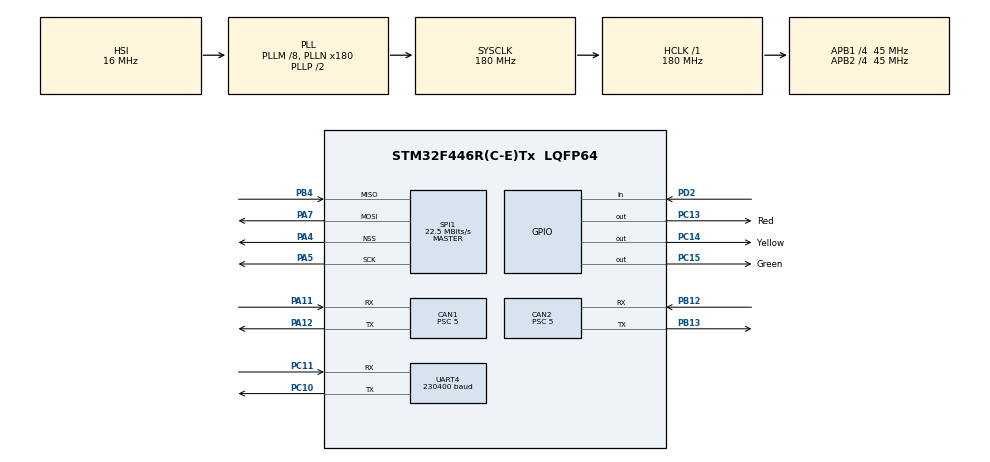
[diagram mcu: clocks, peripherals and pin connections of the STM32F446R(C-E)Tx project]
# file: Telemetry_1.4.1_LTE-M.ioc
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CAN1.BS1=CAN_BS1_7TQ
CAN1.BS2=CAN_BS2_1TQ
CAN1.CalculateBaudRate=1000000
CAN1.CalculateTimeBit=1000
CAN1.CalculateTimeQuantum=111.11111111111111
CAN1.Prescaler=5
CAN1.SJW=CAN_SJW_1TQ
CAN2.BS1=CAN_BS1_7TQ
CAN2.BS2=CAN_BS2_1TQ
CAN2.CalculateBaudRate=1000000
CAN2.CalculateTimeBit=1000
CAN2.CalculateTimeQuantum=111.11111111111111
CAN2.Prescaler=5
Mcu.Family=STM32F4
Mcu.Name=STM32F446R(C-E)Tx
Mcu.Package=LQFP64
NVIC.CAN1_RX0_IRQn=true\:0\:0\:false\:false\:true\:true\:true\:true
NVIC.CAN2_RX1_IRQn=true\:0\:0\:false\:false\:true\:true\:true\:true
NVIC.PriorityGroup=NVIC_PRIORITYGROUP_4
NVIC.TIM2_IRQn=true\:0\:0\:false\:false\:true\:true\:true\:true
NVIC.UART4_IRQn=true\:0\:0\:false\:false\:true\:true\:true\:true
PA11.Mode=CAN_Activate
PA11.Signal=CAN1_RX
PA12.Mode=CAN_Activate
PA12.Signal=CAN1_TX
PA13.Mode=Serial_Wire
PA13.Signal=SYS_JTMS-SWDIO
PA14.Mode=Serial_Wire
PA14.Signal=SYS_JTCK-SWCLK
PA4.Mode=NSS_Signal_Hard_Output
PA4.Signal=SPI1_NSS
PA5.Mode=Full_Duplex_Master
PA5.Signal=SPI1_SCK
PA7.Mode=Full_Duplex_Master
PA7.Signal=SPI1_MOSI
PB12.Mode=CAN_Activate
PB12.Signal=CAN2_RX
PB13.Mode=CAN_Activate
PB13.Signal=CAN2_TX
PB4.Mode=Full_Duplex_Master
PB4.Signal=SPI1_MISO
PC10.Mode=Asynchronous
PC10.Signal=UART4_TX
PC11.Mode=Asynchronous
PC11.Signal=UART4_RX
PC13.GPIO_Label=Red
PC13.Signal=GPIO_Output
PC14-OSC32_IN.GPIO_Label=Yellow
PC14-OSC32_IN.Signal=GPIO_Output
PC15-OSC32_OUT.GPIO_Label=Green
PC15-OSC32_OUT.Signal=GPIO_Output
PD2.GPIO_PuPd=GPIO_PULLDOWN
PD2.Signal=GPIO_Input
ProjectManager.HeapSize=0x200
ProjectManager.StackSize=0x400
ProjectManager.TargetToolchain=STM32CubeIDE
RCC.AHBFreq_Value=180000000
RCC.APB1CLKDivider=RCC_HCLK_DIV4
RCC.APB1Freq_Value=45000000
RCC.APB1TimFreq_Value=90000000
RCC.APB2CLKDivider=RCC_HCLK_DIV4
RCC.APB2Freq_Value=45000000
RCC.APB2TimFreq_Value=90000000
RCC.CortexFreq_Value=180000000
RCC.HCLKFreq_Value=180000000
RCC.HSE_VALUE=25000000
RCC.PLLM=8
RCC.PLLN=180
RCC.SYSCLKFreq_VALUE=180000000
RCC.SYSCLKSource=RCC_SYSCLKSOURCE_PLLCLK
RCC.USBFreq_Value=180000000
RCC.VCOOutputFreq_Value=360000000
SPI1.CalculateBaudRate=22.5 MBits/s
SPI1.Direction=SPI_DIRECTION_2LINES
SPI1.Mode=SPI_MODE_MASTER
SPI1.VirtualNSS=VM_NSSHARD
SPI1.VirtualType=VM_MASTER
TIM2.Period=20000
TIM2.Prescaler=45000
UART4.BaudRate=230400
UART4.VirtualMode=Asynchronous
VP_TIM2_VS_ClockSourceINT.Mode=Internal
board=custom

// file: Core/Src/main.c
/* USER CODE BEGIN Header */
/**
  ******************************************************************************
  * @file           : main.c
  * @brief          : Main program body
  ******************************************************************************
  * @attention
  *
  * <h2><center>&copy; Copyright (c) 2022 STMicroelectronics.
  * All rights reserved.</center></h2>
  *
  * This software component is licensed by ST under BSD 3-Clause license,
  * the "License"; You may not use this file except in compliance with the
  * License. You may obtain a copy of the License at:
  *                        opensource.org/licenses/BSD-3-Clause
  *
  ******************************************************************************
  */
/* USER CODE END Header */
#include "main.h"

/* USER CODE BEGIN Includes */
#include "stdio.h"
#include "string.h"
#include "stdbool.h"
/* USER CODE END Includes */

 CAN_HandleTypeDef hcan1;
CAN_HandleTypeDef hcan2;

SPI_HandleTypeDef hspi1;

TIM_HandleTypeDef htim2;

UART_HandleTypeDef huart4;

/* USER CODE BEGIN PV */
//AT commands to send to the Xbee Module
uint8_t AT_ENTER[] = {'+','+','+'}; //Command to enter AT mode
uint8_t AT_OK[] = {'O', 'K', 0x0D}; //AT OK response
uint8_t ATSD_R[] = {'A', 'T', 'S', 'D','1', 0x0D}; //AT soft reset command
uint8_t ATSD_S[] = {'A', 'T', 'S', 'D','0', 0x0D}; //AT shutdown command
uint8_t ATFR[] = {'A', 'T', 'F', 'R', 0x0D}; //Force reset command
uint8_t ATAI[] = {'A', 'T', 'A', 'I', 0x0D}; //Association indication command, tells state of connection
//ATAI command responses
uint8_t AT_CONNECTED[] = {'0', 0x0D}; //Connected to internet
uint8_t AT_REG[] = {'2', '2', 0x0D}; //Registerring to cellular network
uint8_t AT_CON[] = {'2', '3', 0x0D}; //Connecting to internet
uint8_t AT_COR[] = {'2', '4', 0x0D}; //Firmware corrupt or missing
uint8_t AT_DEN[] = {'2', '5', 0x0D}; //Connection denied; may be power consumption related
uint8_t AT_AIR[] = {'2', 'A', 0x0D}; //In airplane mode
uint8_t AT_USB[] = {'2', 'B', 0x0D}; //USB Direct Active
uint8_t AT_PSM[] = {'2', 'C', 0x0D}; //Cellular component in PSM
uint8_t AT_SD[] = {'2', 'D', 0x0D}; //Modem shut down
uint8_t AT_VOL[] = {'2', 'E', 0x0D}; // Low voltage shut down
uint8_t AT_BYP[] = {'2', 'F', 0x0D}; //Bypass mode active
uint8_t AT_UPD[] = {'3', '0', 0x0D}; //Update in progress
uint8_t AT_TST[] = {'3', '1', 0x0D}; //Regulatory testing enabled
uint8_t AT_INI[] = {'F', 'F', 0x0D}; //Initializing
//MQTT Messages
uint8_t mqtt_connect[] = {0x10, 0x10, 0x00, 0x04, 0x4D, 0x51, 0x54, 0x54, 0x04, 0x02, 0x00, 0x3C, 0x00, 0x04, 0x44, 0x49, 0x47, 0x49}; //MQTT connect message
uint8_t rx_transmit[2048] = {0x32, 0x8C, 0x00, 0x00, 0x08, 0x6D, 0x65, 0x73, 0x73, 0x61, 0x67, 0x65, 0x73, 0x00, 0x2A}; //MQTT data transmission message
//MQTT Responses
uint8_t MQTT_CONACK[] = {0x20,0x02,0x00,0x00}; //Connection acknowlegement response
uint8_t MQTT_PUBACK[] = {0x40,0x02,0x00,0x2A}; //Message published acknowlegement response

CAN_TxHeaderTypeDef TxHeader;
CAN_RxHeaderTypeDef RxHeader;

uint8_t uart_rx[4]; //UART receive Buffer
uint16_t last_element = 14;	 //Last array element location of rx_transmit
uint8_t *id_array[128];  // Array of pointers indicating location of any given ID in rx_transmit
uint8_t timeout_count = 0; //Timeout counter

//State flags
struct sFlags
{
	bool connected_net;
	bool connected_mqtt;
	bool transmit_ready;
	bool at_enabled;
	bool xbee_fr;
	bool at_ok;
};
struct sFlags FLAG;

/* USER CODE END PV */

void SystemClock_Config(void);
static void MX_GPIO_Init(void);
static void MX_CAN1_Init(void);
static void MX_CAN2_Init(void);
static void MX_SPI1_Init(void);
static void MX_UART4_Init(void);
static void MX_TIM2_Init(void);
/* USER CODE BEGIN PFP */
void HAL_CAN_RxFifo0MsgPendingCallback(CAN_HandleTypeDef *hcan);
void HAL_CAN_RxFifo1MsgPendingCallback(CAN_HandleTypeDef *hcan);
//void HAL_UART_RxCpltCallback(UART_HandleTypeDef *huart);
void CAN_SortAndHandle(CAN_HandleTypeDef *hcan, uint8_t FIFO);
void TransmitPacket();
void PacketLengthFormatter();
void ConnectingInternet();
void ConnectingMQTT();
void ResetXbee_Soft();
void ResetXbee_Hard();

/* USER CODE END PFP */

int main(void)
{
  /* USER CODE BEGIN 1 */
  //Default flag states during startup
  FLAG.connected_net = false;
  FLAG.connected_mqtt = false;
  FLAG.transmit_ready = false;
  FLAG.xbee_fr = false;
  FLAG.at_ok = false;

  /* USER CODE END 1 */

  /* MCU Configuration--------------------------------------------------------*/

  /* Reset of all peripherals, Initializes the Flash interface and the Systick. */
  HAL_Init();

  /* USER CODE BEGIN Init */
  int a = 0; //Used to make debug mode work

  /* USER CODE END Init */

  /* Configure the system clock */
  SystemClock_Config();

  /* Initialize all configured peripherals */
  MX_GPIO_Init();
  MX_CAN1_Init();
  MX_CAN2_Init();
  MX_SPI1_Init();
  MX_UART4_Init();
  MX_TIM2_Init();
  /* USER CODE BEGIN 2 */
  //Initial pointer to first End Of Array
  id_array[0] = &rx_transmit[last_element+1];
  HAL_Delay(30000);//Delay to wait for the xbee module to boot up and connect to network
  HAL_UARTEx_ReceiveToIdle_IT(&huart4, uart_rx, sizeof(uart_rx));
  //Starting CAN1 and CAN2 interrupts
  if (HAL_CAN_ActivateNotification(&hcan1, CAN_IT_RX_FIFO0_MSG_PENDING | CAN_IT_TX_MAILBOX_EMPTY) != HAL_OK)
  {
    Error_Handler();
  }
  if (HAL_CAN_ActivateNotification(&hcan2, CAN_IT_RX_FIFO1_MSG_PENDING | CAN_IT_TX_MAILBOX_EMPTY) != HAL_OK)
  {
    Error_Handler();
  }

  /* USER CODE END 2 */

  /* Infinite loop */
  /* USER CODE BEGIN WHILE */
  while (1)
  {
	  if(!FLAG.connected_net)
		  ConnectingInternet();
	  if(!FLAG.connected_mqtt)
		  ConnectingMQTT();
	  if(FLAG.transmit_ready)
		  TransmitPacket();
	  if(FLAG.xbee_fr)
		  ResetXbee_Hard();
	  __WFI();
    /* USER CODE END WHILE */

  }
}

void SystemClock_Config(void)
{
  RCC_OscInitTypeDef RCC_OscInitStruct = {0};
  RCC_ClkInitTypeDef RCC_ClkInitStruct = {0};

  /** Configure the main internal regulator output voltage
  */
  __HAL_RCC_PWR_CLK_ENABLE();
  __HAL_PWR_VOLTAGESCALING_CONFIG(PWR_REGULATOR_VOLTAGE_SCALE1);

  /** Initializes the RCC Oscillators according to the specified parameters
  * in the RCC_OscInitTypeDef structure.
  */
  RCC_OscInitStruct.OscillatorType = RCC_OSCILLATORTYPE_HSI;
  RCC_OscInitStruct.HSIState = RCC_HSI_ON;
  RCC_OscInitStruct.HSICalibrationValue = RCC_HSICALIBRATION_DEFAULT;
  RCC_OscInitStruct.PLL.PLLState = RCC_PLL_ON;
  RCC_OscInitStruct.PLL.PLLSource = RCC_PLLSOURCE_HSI;
  RCC_OscInitStruct.PLL.PLLM = 8;
  RCC_OscInitStruct.PLL.PLLN = 180;
  RCC_OscInitStruct.PLL.PLLP = RCC_PLLP_DIV2;
  RCC_OscInitStruct.PLL.PLLQ = 2;
  RCC_OscInitStruct.PLL.PLLR = 2;
  if (HAL_RCC_OscConfig(&RCC_OscInitStruct) != HAL_OK)
  {
    Error_Handler();
  }

  /** Activate the Over-Drive mode
  */
  if (HAL_PWREx_EnableOverDrive() != HAL_OK)
  {
    Error_Handler();
  }

  /** Initializes the CPU, AHB and APB buses clocks
  */
  RCC_ClkInitStruct.ClockType = RCC_CLOCKTYPE_HCLK|RCC_CLOCKTYPE_SYSCLK
                              |RCC_CLOCKTYPE_PCLK1|RCC_CLOCKTYPE_PCLK2;
  RCC_ClkInitStruct.SYSCLKSource = RCC_SYSCLKSOURCE_PLLCLK;
  RCC_ClkInitStruct.AHBCLKDivider = RCC_SYSCLK_DIV1;
  RCC_ClkInitStruct.APB1CLKDivider = RCC_HCLK_DIV4;
  RCC_ClkInitStruct.APB2CLKDivider = RCC_HCLK_DIV4;

  if (HAL_RCC_ClockConfig(&RCC_ClkInitStruct, FLASH_LATENCY_5) != HAL_OK)
  {
    Error_Handler();
  }
}

static void MX_CAN1_Init(void)
{

  /* USER CODE BEGIN CAN1_Init 0 */
	CAN_FilterTypeDef sFilterConfig;
  /* USER CODE END CAN1_Init 0 */

  hcan1.Instance = CAN1;
  hcan1.Init.Prescaler = 5;
  hcan1.Init.Mode = CAN_MODE_NORMAL;
  hcan1.Init.SyncJumpWidth = CAN_SJW_1TQ;
  hcan1.Init.TimeSeg1 = CAN_BS1_7TQ;
  hcan1.Init.TimeSeg2 = CAN_BS2_1TQ;
  hcan1.Init.TimeTriggeredMode = DISABLE;
  hcan1.Init.AutoBusOff = DISABLE;
  hcan1.Init.AutoWakeUp = DISABLE;
  hcan1.Init.AutoRetransmission = DISABLE;
  hcan1.Init.ReceiveFifoLocked = DISABLE;
  hcan1.Init.TransmitFifoPriority = DISABLE;
  if (HAL_CAN_Init(&hcan1) != HAL_OK)
  {
    Error_Handler();
  }
  /* USER CODE BEGIN CAN1_Init 2 */
  sFilterConfig.FilterBank = 0;
  sFilterConfig.FilterMode = CAN_FILTERMODE_IDMASK;
  sFilterConfig.FilterScale = CAN_FILTERSCALE_32BIT;
  sFilterConfig.FilterIdHigh = 0x0000;
  sFilterConfig.FilterIdLow = 0x0000;
  sFilterConfig.FilterMaskIdHigh = 0x0000;
  sFilterConfig.FilterMaskIdLow = 0x0000;
  sFilterConfig.FilterFIFOAssignment = CAN_RX_FIFO0;
  sFilterConfig.FilterActivation = ENABLE;
  sFilterConfig.SlaveStartFilterBank = 14;
  if (HAL_CAN_ConfigFilter(&hcan1, &sFilterConfig) != HAL_OK)
  {
    /* Filter configuration Error */
    Error_Handler();
  }
  HAL_CAN_Start(&hcan1);
  /* USER CODE END CAN1_Init 2 */

}

static void MX_CAN2_Init(void)
{

  /* USER CODE BEGIN CAN2_Init 0 */
	CAN_FilterTypeDef sFilterConfig;
  /* USER CODE END CAN2_Init 0 */

  hcan2.Instance = CAN2;
  hcan2.Init.Prescaler = 5;
  hcan2.Init.Mode = CAN_MODE_NORMAL;
  hcan2.Init.SyncJumpWidth = CAN_SJW_1TQ;
  hcan2.Init.TimeSeg1 = CAN_BS1_7TQ;
  hcan2.Init.TimeSeg2 = CAN_BS2_1TQ;
  hcan2.Init.TimeTriggeredMode = DISABLE;
  hcan2.Init.AutoBusOff = DISABLE;
  hcan2.Init.AutoWakeUp = DISABLE;
  hcan2.Init.AutoRetransmission = DISABLE;
  hcan2.Init.ReceiveFifoLocked = DISABLE;
  hcan2.Init.TransmitFifoPriority = DISABLE;
  if (HAL_CAN_Init(&hcan2) != HAL_OK)
  {
    Error_Handler();
  }
  /* USER CODE BEGIN CAN2_Init 2 */
  sFilterConfig.FilterBank = 14;
  sFilterConfig.FilterMode = CAN_FILTERMODE_IDMASK;
  sFilterConfig.FilterScale = CAN_FILTERSCALE_32BIT;
  sFilterConfig.FilterIdHigh = 0x0000;
  sFilterConfig.FilterIdLow = 0x0000;
  sFilterConfig.FilterMaskIdHigh = 0x0000;
  sFilterConfig.FilterMaskIdLow = 0x0000;
  sFilterConfig.FilterFIFOAssignment = CAN_RX_FIFO1;
  sFilterConfig.FilterActivation = ENABLE;
  sFilterConfig.SlaveStartFilterBank = 14;

  if (HAL_CAN_ConfigFilter(&hcan2, &sFilterConfig) != HAL_OK)
  {
    /* Filter configuration Error */
    Error_Handler();
  }
  HAL_CAN_Start(&hcan2);
  /* USER CODE END CAN2_Init 2 */

}

static void MX_SPI1_Init(void)
{

  /* SPI1 parameter configuration*/
  hspi1.Instance = SPI1;
  hspi1.Init.Mode = SPI_MODE_MASTER;
  hspi1.Init.Direction = SPI_DIRECTION_2LINES;
  hspi1.Init.DataSize = SPI_DATASIZE_8BIT;
  hspi1.Init.CLKPolarity = SPI_POLARITY_LOW;
  hspi1.Init.CLKPhase = SPI_PHASE_1EDGE;
  hspi1.Init.NSS = SPI_NSS_HARD_OUTPUT;
  hspi1.Init.BaudRatePrescaler = SPI_BAUDRATEPRESCALER_2;
  hspi1.Init.FirstBit = SPI_FIRSTBIT_MSB;
  hspi1.Init.TIMode = SPI_TIMODE_DISABLE;
  hspi1.Init.CRCCalculation = SPI_CRCCALCULATION_DISABLE;
  hspi1.Init.CRCPolynomial = 10;
  if (HAL_SPI_Init(&hspi1) != HAL_OK)
  {
    Error_Handler();
  }

}

static void MX_TIM2_Init(void)
{

  TIM_ClockConfigTypeDef sClockSourceConfig = {0};
  TIM_MasterConfigTypeDef sMasterConfig = {0};

  htim2.Instance = TIM2;
  htim2.Init.Prescaler = 45000;
  htim2.Init.CounterMode = TIM_COUNTERMODE_UP;
  htim2.Init.Period = 20000;
  htim2.Init.ClockDivision = TIM_CLOCKDIVISION_DIV1;
  htim2.Init.AutoReloadPreload = TIM_AUTORELOAD_PRELOAD_DISABLE;
  if (HAL_TIM_Base_Init(&htim2) != HAL_OK)
  {
    Error_Handler();
  }
  sClockSourceConfig.ClockSource = TIM_CLOCKSOURCE_INTERNAL;
  if (HAL_TIM_ConfigClockSource(&htim2, &sClockSourceConfig) != HAL_OK)
  {
    Error_Handler();
  }
  sMasterConfig.MasterOutputTrigger = TIM_TRGO_RESET;
  sMasterConfig.MasterSlaveMode = TIM_MASTERSLAVEMODE_DISABLE;
  if (HAL_TIMEx_MasterConfigSynchronization(&htim2, &sMasterConfig) != HAL_OK)
  {
    Error_Handler();
  }
  /* USER CODE BEGIN TIM2_Init 2 */
  /*if(HAL_TIM_Base_Start_IT(&htim2) != HAL_OK)
	  Error_Handler();*/
  TIM2->CNT = 0;
  /* USER CODE END TIM2_Init 2 */

}

static void MX_UART4_Init(void)
{

  huart4.Instance = UART4;
  huart4.Init.BaudRate = 230400;
  huart4.Init.WordLength = UART_WORDLENGTH_8B;
  huart4.Init.StopBits = UART_STOPBITS_1;
  huart4.Init.Parity = UART_PARITY_NONE;
  huart4.Init.Mode = UART_MODE_TX_RX;
  huart4.Init.HwFlowCtl = UART_HWCONTROL_NONE;
  huart4.Init.OverSampling = UART_OVERSAMPLING_16;
  if (HAL_UART_Init(&huart4) != HAL_OK)
  {
    Error_Handler();
  }

}

static void MX_GPIO_Init(void)
{
  GPIO_InitTypeDef GPIO_InitStruct = {0};

  /* GPIO Ports Clock Enable */
  __HAL_RCC_GPIOC_CLK_ENABLE();
  __HAL_RCC_GPIOA_CLK_ENABLE();
  __HAL_RCC_GPIOB_CLK_ENABLE();
  __HAL_RCC_GPIOD_CLK_ENABLE();

  /*Configure GPIO pin Output Level */
  HAL_GPIO_WritePin(GPIOC, Red_Pin|Yellow_Pin|Green_Pin, GPIO_PIN_RESET);

  /*Configure GPIO pins : Red_Pin Yellow_Pin Green_Pin */
  GPIO_InitStruct.Pin = Red_Pin|Yellow_Pin|Green_Pin;
  GPIO_InitStruct.Mode = GPIO_MODE_OUTPUT_PP;
  GPIO_InitStruct.Pull = GPIO_NOPULL;
  GPIO_InitStruct.Speed = GPIO_SPEED_FREQ_LOW;
  HAL_GPIO_Init(GPIOC, &GPIO_InitStruct);

  /*Configure GPIO pin : PD2 */
  GPIO_InitStruct.Pin = GPIO_PIN_2;
  GPIO_InitStruct.Mode = GPIO_MODE_INPUT;
  GPIO_InitStruct.Pull = GPIO_PULLDOWN;
  HAL_GPIO_Init(GPIOD, &GPIO_InitStruct);

}

/* USER CODE BEGIN 4 */
void HAL_CAN_RxFifo0MsgPendingCallback(CAN_HandleTypeDef *hcan)
{
  CAN_SortAndHandle(hcan, CAN_FILTER_FIFO0);
}

void HAL_CAN_RxFifo1MsgPendingCallback(CAN_HandleTypeDef *hcan)
{
  CAN_SortAndHandle(hcan, CAN_FILTER_FIFO1);
}
//Magic function that takes received CAN messages and formats them to be put into a MQTT message
void CAN_SortAndHandle(CAN_HandleTypeDef *hcan, uint8_t FIFO)
{
	HAL_CAN_DeactivateNotification(&hcan1,CAN_IT_RX_FIFO0_MSG_PENDING);
	HAL_CAN_DeactivateNotification(&hcan2,CAN_IT_RX_FIFO1_MSG_PENDING);
	uint8_t rx_buffer[8];
	//Get received CAN message, check if ok, and check if DLC is greater than zero
	if (HAL_CAN_GetRxMessage(hcan, FIFO, &RxHeader, rx_buffer) == HAL_OK && RxHeader.DLC)
	{
    bool id_found = false; // Indicates if the ID pre-exists or not
    static uint8_t id_count = 0;
    for (int i = 0; i <= id_count && !id_found; i++) //Scan array for ID matching the incoming ID
    {
      if (RxHeader.StdId == (id_array[i][0] << 8 | id_array[i][1]))
      {
        //If ID is matched we insert the new data into the correct array placement and toggle the boolean idFinder status to positive
        memcpy(id_array[i] + 3, rx_buffer, RxHeader.DLC);
        id_found = true;
      }
    }
    //if ID is not matched and we have not run out of space, then we add the new ID to the array
    if (!id_found)
    {
      //Add a pointer to location of the ID and increment id_count
      id_array[id_count++] = &rx_transmit[last_element+1];
      //First copy the ID
      rx_transmit[++last_element] = RxHeader.StdId >> 8;
      rx_transmit[++last_element] = RxHeader.StdId & 0xFF;
      //Then DLC
      rx_transmit[++last_element] = RxHeader.DLC;
      //And then all the data from the received frame
      memcpy(&rx_transmit[++last_element], rx_buffer, RxHeader.DLC);
      //Updating End Of Array value
      last_element += RxHeader.DLC-1;
      PacketLengthFormatter();
    }
  }
  HAL_CAN_ActivateNotification(&hcan1,CAN_IT_RX_FIFO0_MSG_PENDING);
  HAL_CAN_ActivateNotification(&hcan2,CAN_IT_RX_FIFO1_MSG_PENDING);

}
//Formats packet length part of MQTT message, it works in a funky way. Google it
void PacketLengthFormatter()
{
	uint8_t array_length[2];
	uint16_t mqtt_length = last_element - 2;
	if(mqtt_length > 127)
	{
		array_length[0] = mqtt_length & 0x7F;
		array_length[0] += 0x80;
		array_length[1] = mqtt_length >> 7 & 0x7F;
	}
	else{
		array_length[0] = mqtt_length + 0x80;
		array_length[1] = 0;
	}
	rx_transmit[1] = array_length[0];
	rx_transmit[2] = array_length[1];

}
//MQTT message transmit function
void TransmitPacket()
{
	HAL_CAN_DeactivateNotification(&hcan1,CAN_IT_RX_FIFO0_MSG_PENDING);
	HAL_CAN_DeactivateNotification(&hcan2,CAN_IT_RX_FIFO1_MSG_PENDING);
	HAL_UART_Transmit_IT(&huart4, rx_transmit, last_element+1);
	FLAG.transmit_ready = false;
	HAL_GPIO_TogglePin(GPIOC, GPIO_PIN_14);
	HAL_CAN_ActivateNotification(&hcan1,CAN_IT_RX_FIFO0_MSG_PENDING);
	HAL_CAN_ActivateNotification(&hcan2,CAN_IT_RX_FIFO1_MSG_PENDING);
	TIM2->CNT = 0; //Resets TIM2 counter
}
//Handles received AT commands and MQTT replies from the Xbee module
void HAL_UARTEx_RxEventCallback(UART_HandleTypeDef *huart, uint16_t Size)
{
	switch(Size)
	{
	case 4:
		if(!memcmp(uart_rx, MQTT_PUBACK, sizeof(MQTT_PUBACK))){
			FLAG.transmit_ready = true;
			timeout_count = 0;
		}
		else if(!memcmp(uart_rx, MQTT_CONACK, sizeof(MQTT_CONACK))){
			FLAG.connected_mqtt = true;
			FLAG.transmit_ready = true;
		}
		FLAG.at_ok = false;
		memset(uart_rx, 0x00, sizeof(uart_rx));
		HAL_UARTEx_ReceiveToIdle_IT(&huart4, uart_rx, sizeof(uart_rx));
		break;
	case 3:
		if(!memcmp(uart_rx, AT_OK, sizeof(AT_OK)))
			FLAG.at_ok = true;
		else
			FLAG.at_ok = false;
		memset(uart_rx, 0x00, sizeof(uart_rx));
		HAL_UARTEx_ReceiveToIdle_IT(&huart4, uart_rx, sizeof(uart_rx));
		break;
	case 2:
		if(!memcmp(uart_rx, AT_CONNECTED, sizeof(AT_CONNECTED)))
			FLAG.connected_net = true;
		FLAG.at_ok = false;
		memset(uart_rx, 0x00, sizeof(uart_rx));
		HAL_UARTEx_ReceiveToIdle_IT(&huart4, uart_rx, sizeof(uart_rx));
		break;
	case 1:
		FLAG.at_ok = false;
		memset(uart_rx, 0x00, sizeof(uart_rx));
		HAL_UARTEx_ReceiveToIdle_IT(&huart4, uart_rx, sizeof(uart_rx));
		break;
	default:
		break;
	}

}
//Function that checks if internet connection is present
void ConnectingInternet()
{
	int count = 0;
	if(FLAG.xbee_fr == true)
		return; //Returns function if reset flag is true, or else it will be stuck in here for a while
	while(!FLAG.connected_net)
	{
		HAL_UART_Transmit_IT(&huart4, AT_ENTER,sizeof(AT_ENTER));
		while(!FLAG.at_ok)
			__WFI();
		HAL_UART_Transmit_IT(&huart4, ATAI,sizeof(ATAI));
		HAL_Delay(500);
		HAL_GPIO_TogglePin(GPIOC, GPIO_PIN_14);
		HAL_Delay(500);
		HAL_GPIO_TogglePin(GPIOC, GPIO_PIN_14);
		count++;
		if(count>5)//If over five AT AI messages has been sent without returning a connected value, there will be a 10 second delay until the next transmit
			HAL_Delay(10000);
		if(count>10){
			FLAG.xbee_fr = true;//If over 10 AT AI messages have been sent without a connected value, the xbee will be reset
			count = 0;
			return;
		}
	}
}
//Function to connect to the MQTT server
void ConnectingMQTT()
{
	int count = 0;
	if(FLAG.xbee_fr == true)
		return; //Returns function if reset flag is true, or else it will be stuck in here for a while
	while(!FLAG.connected_mqtt)
	{
	HAL_UART_Transmit_IT(&huart4, mqtt_connect,sizeof(mqtt_connect));
	HAL_Delay(1000);
	HAL_GPIO_TogglePin(GPIOC, GPIO_PIN_15);
	HAL_Delay(1000);
	HAL_GPIO_TogglePin(GPIOC, GPIO_PIN_15);
	count++;
	if(count==4)//If over four MQTT connect messages has been sent without returning a connected value, there will be a 10 second delay until the next transmit
		HAL_Delay(10000);
	if(count>10){
		FLAG.xbee_fr = true;//If over 10 MQTT connect messages have been sent without a connected value, the xbee will be reset
		count = 0;
		return;
		}
	}
	HAL_GPIO_WritePin(GPIOC, GPIO_PIN_15, GPIO_PIN_SET);
	if(HAL_TIM_Base_Start_IT(&htim2) != HAL_OK)
	  Error_Handler();
}
//TIM2 timer, coded to trigger every 10 seconds, but it only starts after the ConnectingMQTT is successfull, and the timer resets every time a new message is transmitted to the MQTT server
void HAL_TIM_PeriodElapsedCallback(TIM_HandleTypeDef *htim)
{
	//If no message acknowlegement message has been received for the past 10 seconds, the transmit_ready flag will be set to true and the telemetry board will try to transmit a new message
	timeout_count++;
	if(timeout_count < 4)
		FLAG.transmit_ready = true;
	else if (timeout_count > 4)
	{//If the telemetry board has tried to transmit messages more than 4 times with no acknowlegement message received, it will reset the xbee module
		FLAG.xbee_fr = true;
		timeout_count = 0;
		HAL_GPIO_WritePin(GPIOC, GPIO_PIN_14, GPIO_PIN_RESET);
		HAL_GPIO_WritePin(GPIOC, GPIO_PIN_15, GPIO_PIN_RESET);
		if(HAL_TIM_Base_Stop_IT(&htim2) != HAL_OK)
		  Error_Handler();

	}
}
//Soft reset of Xbee module, basically just resets the modem part of the Xbee and not the whole unit
void ResetXbee_Soft(void)
{
	HAL_UART_Transmit_IT(&huart4, AT_ENTER,sizeof(AT_ENTER));
	while(!FLAG.at_ok)
		__WFI();
	FLAG.at_ok = false;
	HAL_UART_Transmit_IT(&huart4, ATSD_R,sizeof(ATSD_R));
	while(!FLAG.at_ok)
		__WFI();
	FLAG.at_ok = false;
	FLAG.xbee_fr = false;
	HAL_Delay(30000);
}
//Hard reset of Xbee module, resets the entire device
void ResetXbee_Hard(void)
{
	FLAG.connected_mqtt = false;
	FLAG.connected_net = false;
	FLAG.transmit_ready = false;
	HAL_UART_Transmit_IT(&huart4, AT_ENTER,sizeof(AT_ENTER));
	while(!FLAG.at_ok)
		__WFI();
	FLAG.at_ok = false;
	HAL_UART_Transmit_IT(&huart4, ATSD_S,sizeof(ATSD_S));
	while(!FLAG.at_ok)
		__WFI();
	FLAG.at_ok = false;
	HAL_UART_Transmit_IT(&huart4, AT_ENTER,sizeof(AT_ENTER));
	while(!FLAG.at_ok)
		__WFI();
	FLAG.at_ok = false;
	HAL_UART_Transmit_IT(&huart4, ATFR,sizeof(ATFR));
	while(!FLAG.at_ok)
		__WFI();
	FLAG.at_ok = false;
	FLAG.xbee_fr = false;
	HAL_Delay(30000);
}

/* USER CODE END 4 */

void Error_Handler(void)
{
  /* USER CODE BEGIN Error_Handler_Debug */
  /* User can add his own implementation to report the HAL error return state */
  __disable_irq();
  while (1)
  {
	  HAL_GPIO_TogglePin(GPIOC,GPIO_PIN_13);
	  HAL_Delay(300);
  }
  /* USER CODE END Error_Handler_Debug */
}
